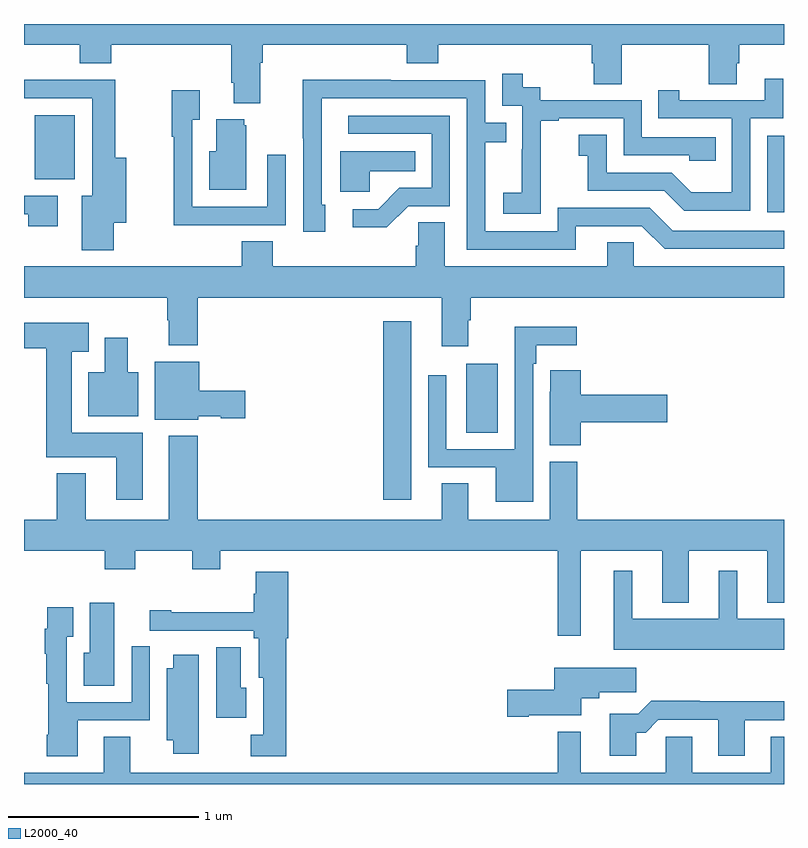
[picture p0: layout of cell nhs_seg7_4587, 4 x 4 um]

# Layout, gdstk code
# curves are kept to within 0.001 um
import gdstk
lib = gdstk.Library(unit=1e-6, precision=1e-09)
def R(c, l, rs):  # rectangles x0, y0, x1, y1
    for r in rs: c.add(gdstk.rectangle(r[:2], r[2:], *l))
def P(c, l, *ps):  # polygons
    for p in ps: c.add(gdstk.Polygon(p, *l))
L2000_40 = (2000, 40)

nhs_seg7_4587 = lib.new_cell('nhs_seg7_4587')
R(nhs_seg7_4587, L2000_40, [(400.892,1055.496,401.038,1056.436), (401.327,1055.848,401.494,1056.211), (402.912,1057.008,403,1057.413), (399.056,1057.184,399.268,1057.519)])
P(nhs_seg7_4587, L2000_40, [(400.243,1057.796),(400.256,1057.796),(400.256,1057.892),(401.015,1057.892),(401.015,1057.793),(401.18,1057.793),(401.18,1057.892),(401.987,1057.892),(401.987,1057.794),(401.999,1057.794),(401.999,1057.684),(402.147,1057.684),(402.147,1057.892),(402.604,1057.892),(402.604,1057.684),(402.751,1057.684),(402.751,1057.794),(402.764,1057.794),(402.764,1057.892),(403,1057.892),(403,1058),(399,1058),(399,1057.892),(399.293,1057.892),(399.293,1057.793),(399.458,1057.793),(399.458,1057.892),(400.091,1057.892),(400.091,1057.69),(400.103,1057.69),(400.103,1057.583),(400.243,1057.583)],
  [(401.721,1057.207),(401.72,1057.207),(401.72,1057.491),(401.815,1057.491),(401.815,1057.503),(402.156,1057.503),(402.156,1057.308),(402.501,1057.308),(402.501,1057.281),(402.641,1057.281),(402.641,1057.404),(402.252,1057.404),(402.252,1057.599),(401.718,1057.599),(401.718,1057.668),(401.626,1057.668),(401.626,1057.738),(401.517,1057.738),(401.517,1057.569),(401.622,1057.569),(401.622,1057.34),(401.621,1057.34),(401.621,1057.111),(401.523,1057.111),(401.523,1057.001),(401.721,1057.001)],
  [(402.822,1057.503),(402.996,1057.503),(402.996,1057.711),(402.899,1057.711),(402.899,1057.599),(402.448,1057.599),(402.448,1057.651),(402.337,1057.651),(402.337,1057.503),(402.726,1057.503),(402.726,1057.114),(402.512,1057.114),(402.408,1057.218),(402.066,1057.218),(402.066,1057.417),(401.919,1057.417),(401.919,1057.307),(401.968,1057.307),(401.968,1057.122),(402.371,1057.122),(402.476,1057.017),(402.822,1057.017)],
  [(399.472,1056.953),(399.538,1056.953),(399.538,1057.297),(399.48,1057.297),(399.48,1057.706),(399,1057.706),(399,1057.608),(399.359,1057.608),(399.359,1057.096),(399.305,1057.096),(399.305,1056.81),(399.472,1056.81)],
  [(401.905,1056.936),(402.252,1056.936),(402.372,1056.816),(403,1056.816),(403,1056.912),(402.414,1056.912),(402.294,1057.032),(401.808,1057.032),(401.808,1056.909),(401.427,1056.909),(401.427,1057.378),(401.537,1057.378),(401.537,1057.479),(401.427,1057.479),(401.427,1057.704),(400.931,1057.704),(400.931,1057.706),(400.468,1057.706),(400.468,1057.399),(400.47,1057.399),(400.47,1056.906),(400.585,1056.906),(400.585,1057.05),(400.566,1057.05),(400.567,1057.608),(401.331,1057.608),(401.331,1056.813),(401.905,1056.813)],
  [(400.061,1056.942),(400.377,1056.942),(400.377,1057.312),(400.281,1057.312),(400.281,1057.038),(399.885,1057.038),(399.885,1057.495),(399.925,1057.495),(399.925,1057.651),(399.777,1057.651),(399.777,1057.406),(399.787,1057.406),(399.787,1056.941),(400.061,1056.941)],
  [(401.022,1057.041),(401.241,1057.041),(401.241,1057.518),(400.707,1057.518),(400.707,1057.422),(401.145,1057.422),(401.145,1057.137),(400.976,1057.137),(400.865,1057.026),(400.731,1057.026),(400.731,1056.929),(400.909,1056.929)],
  [(400.171,1057.467),(400.16,1057.467),(400.16,1057.498),(400.013,1057.498),(400.013,1057.33),(399.974,1057.33),(399.974,1057.127),(400.171,1057.127)],
  [(400.821,1057.226),(401.06,1057.226),(401.06,1057.33),(400.664,1057.33),(400.664,1057.118),(400.821,1057.118)],
  [(399.178,1057.095),(399,1057.095),(399,1056.999),(399.022,1056.999),(399.022,1056.936),(399.178,1056.936)],
  [(401.338,1056.44),(401.351,1056.44),(401.351,1056.56),(403,1056.56),(403,1056.724),(402.21,1056.724),(402.21,1056.851),(402.071,1056.851),(402.071,1056.724),(401.215,1056.724),(401.215,1056.956),(401.076,1056.956),(401.076,1056.833),(401.063,1056.833),(401.063,1056.724),(400.31,1056.724),(400.31,1056.857),(400.145,1056.857),(400.145,1056.724),(399,1056.724),(399,1056.56),(399.754,1056.56),(399.754,1056.44),(399.761,1056.44),(399.761,1056.308),(399.914,1056.308),(399.914,1056.56),(401.198,1056.56),(401.198,1056.303),(401.338,1056.303)],
  [(399.625,1055.848),(399.25,1055.848),(399.25,1056.275),(399.34,1056.275),(399.34,1056.427),(399,1056.427),(399,1056.293),(399.116,1056.293),(399.116,1055.72),(399.485,1055.72),(399.485,1055.496),(399.625,1055.496)],
  [(401.679,1056.212),(401.695,1056.212),(401.695,1056.308),(401.908,1056.308),(401.908,1056.406),(401.583,1056.406),(401.583,1055.763),(401.223,1055.763),(401.223,1056.151),(401.127,1056.151),(401.127,1055.667),(401.483,1055.667),(401.483,1055.486),(401.679,1055.486)],
  [(399.601,1056.166),(399.547,1056.166),(399.547,1056.349),(399.425,1056.349),(399.425,1056.166),(399.338,1056.166),(399.338,1055.936),(399.601,1055.936)],
  [(399.918,1055.936),(400.035,1055.936),(400.035,1055.924),(400.165,1055.924),(400.165,1056.071),(399.922,1056.071),(399.922,1056.223),(399.689,1056.223),(399.689,1055.918),(399.918,1055.918)],
  [(401.93,1055.903),(402.385,1055.903),(402.385,1056.05),(401.93,1056.05),(401.93,1056.178),(401.769,1056.178),(401.769,1056.065),(401.768,1056.065),(401.768,1055.782),(401.93,1055.782)],
  [(399.914,1055.833),(399.761,1055.833),(399.761,1055.392),(399.325,1055.392),(399.325,1055.635),(399.173,1055.635),(399.173,1055.392),(399,1055.392),(399,1055.228),(399.425,1055.228),(399.425,1055.129),(399.585,1055.129),(399.585,1055.228),(399.886,1055.228),(399.886,1055.129),(400.033,1055.129),(400.033,1055.228),(401.808,1055.228),(401.808,1054.779),(401.929,1054.779),(401.929,1055.228),(402.359,1055.228),(402.359,1054.955),(402.499,1054.955),(402.499,1055.228),(402.911,1055.228),(402.911,1054.955),(403,1054.955),(403,1055.392),(401.912,1055.392),(401.912,1055.697),(401.768,1055.697),(401.768,1055.392),(401.338,1055.392),(401.338,1055.582),(401.198,1055.582),(401.198,1055.392),(399.914,1055.392)],
  [(403,1054.87),(402.754,1054.87),(402.754,1055.122),(402.656,1055.122),(402.656,1054.87),(402.202,1054.87),(402.202,1055.122),(402.104,1055.122),(402.104,1054.706),(403,1054.706)],
  [(400.381,1054.767),(400.391,1054.767),(400.391,1055.116),(400.22,1055.116),(400.22,1055.001),(400.208,1055.001),(400.208,1054.905),(399.775,1054.905),(399.775,1054.915),(399.663,1054.915),(399.663,1054.806),(400.208,1054.806),(400.208,1054.767),(400.235,1054.767),(400.235,1054.56),(400.259,1054.56),(400.259,1054.258),(400.194,1054.258),(400.194,1054.145),(400.381,1054.145)],
  [(399.475,1054.954),(399.347,1054.954),(399.347,1054.69),(399.314,1054.69),(399.314,1054.516),(399.475,1054.516)],
  [(399.283,1054.335),(399.663,1054.335),(399.663,1054.725),(399.567,1054.725),(399.567,1054.431),(399.225,1054.431),(399.225,1054.774),(399.259,1054.774),(399.259,1054.93),(399.122,1054.93),(399.122,1054.817),(399.109,1054.817),(399.109,1054.685),(399.117,1054.685),(399.117,1054.528),(399.128,1054.528),(399.128,1054.258),(399.121,1054.258),(399.121,1054.146),(399.283,1054.146)],
  [(400.171,1054.506),(400.141,1054.506),(400.141,1054.721),(400.013,1054.721),(400.013,1054.35),(400.171,1054.35)],
  [(399.919,1054.681),(399.785,1054.681),(399.785,1054.609),(399.752,1054.609),(399.752,1054.229),(399.785,1054.229),(399.785,1054.158),(399.919,1054.158)],
  [(401.656,1054.361),(401.932,1054.361),(401.932,1054.451),(402.028,1054.451),(402.028,1054.483),(402.223,1054.483),(402.223,1054.612),(401.792,1054.612),(401.792,1054.496),(401.544,1054.496),(401.544,1054.354),(401.656,1054.354)],
  [(402.223,1054.271),(402.272,1054.271),(402.339,1054.338),(402.653,1054.338),(402.653,1054.149),(402.793,1054.149),(402.793,1054.335),(403,1054.335),(403,1054.436),(402.557,1054.436),(402.557,1054.439),(402.302,1054.439),(402.232,1054.369),(402.083,1054.369),(402.083,1054.149),(402.223,1054.149)],
  [(403,1054.25),(402.929,1054.25),(402.929,1054.06),(402.517,1054.06),(402.517,1054.25),(402.378,1054.25),(402.378,1054.06),(401.929,1054.06),(401.929,1054.276),(401.808,1054.276),(401.808,1054.06),(399.559,1054.06),(399.559,1054.25),(399.419,1054.25),(399.419,1054.06),(399,1054.06),(399,1054),(403,1054)])

lib.write_gds('nhs_seg7_4587.gds')
